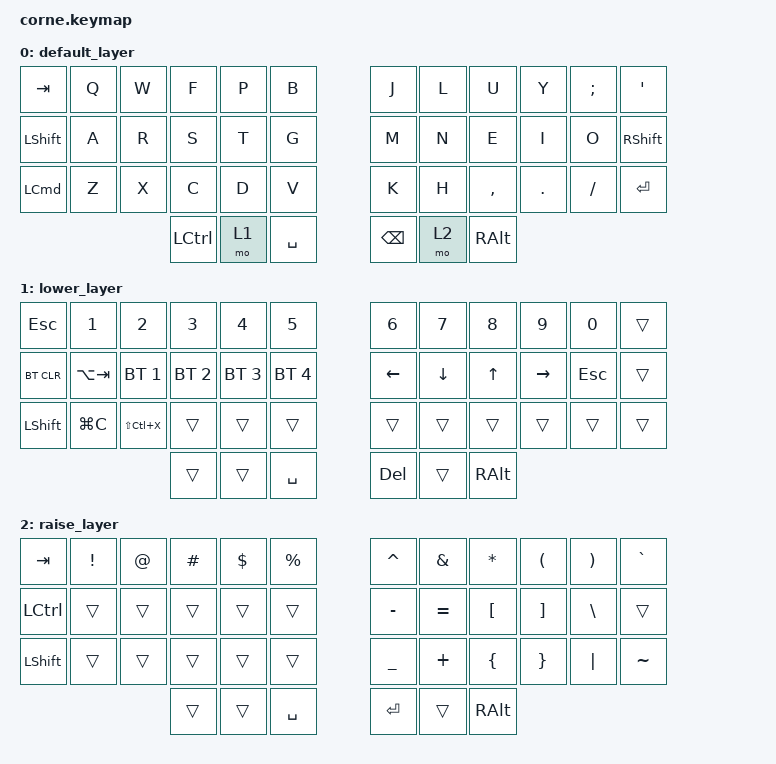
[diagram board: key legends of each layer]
/*
 * Copyright (c) 2020 The ZMK Contributors
 *
 * SPDX-License-Identifier: MIT
 */

#include <behaviors.dtsi>
#include <dt-bindings/zmk/bt.h>
#include <dt-bindings/zmk/keys.h>

/ {
    macros {
        ctrlTab: ctrlTab {
            compatible = "zmk,behavior-macro";
            #binding-cells = <0>;
            bindings = <&kp LEFT_ALT &kp TAB>;
            label = "CTRLTAB";
        };
    };

    keymap {
        compatible = "zmk,keymap";

        default_layer {
            // -----------------------------------------------------------------------------------------
            // |  TAB |  Q  |  W  |  F  |  P  |  B  |     |  J  |  L  |  U  |  Y  |  ;  | BSPC |
            // | CTRL |  A  |  R  |  S  |  T  |  G  |     |  M  |  N  |  E  |  I  |  O  |  '   |
            // | SHFT |  Z  |  X  |  C  |  D  |  V  |     |  K  |  H  |  ,  |  .  |  /  | ESC  |
            //                      | GUI | LWR | SPC |     | RET | RSE | ALT |

            bindings = <
&kp TAB           &kp Q  &kp W  &kp F             &kp P  &kp B        &kp J          &kp L  &kp U      &kp Y    &kp SEMICOLON  &kp APOS
&kp LEFT_SHIFT    &kp A  &kp R  &kp S             &kp T  &kp G        &kp M          &kp N  &kp E      &kp I    &kp O          &kp RIGHT_SHIFT
&kp LEFT_COMMAND  &kp Z  &kp X  &kp C             &kp D  &kp V        &kp K          &kp H  &kp COMMA  &kp DOT  &kp FSLH       &kp ENTER
                                &kp LEFT_CONTROL  &mo 1  &kp SPACE    &kp BACKSPACE  &mo 2  &kp RALT
            >;
        };

        lower_layer {
            // -----------------------------------------------------------------------------------------------
            // |  TAB  |  1  |  2  |  3  |  4  |  5  |     |  6   |  7  |  8   |  9   |  0   |  BSPC  |
            // | BTCLR | BT0 | BT1 | BT2 | BT3 | BT4 |     | LEFT | DOWN|  UP  |RIGHT |      |        |
            // | SHFT  |     |     |     |     |     |     |      |     |      |      |      |        |
            //                     | GUI |     | SPC |     | RET  |     | ALT  |

            bindings = <
&kp ESCAPE  &kp N1       &kp N2         &kp N3        &kp N4        &kp N5          &kp N6      &kp N7    &kp N8    &kp N9     &kp N0      &trans
&bt BT_CLR  &kp LA(TAB)  &bt BT_SEL 1   &bt BT_SEL 2  &bt BT_SEL 3  &bt BT_SEL 4    &kp LEFT    &kp DOWN  &kp UP    &kp RIGHT  &kp ESCAPE  &trans
&kp LSHFT   &kp LG(C)    &kp LS(LC(X))  &trans        &trans        &trans          &trans      &trans    &trans    &trans     &trans      &trans
                                        &trans        &trans        &kp SPACE       &kp DELETE  &trans    &kp RALT
            >;
        };

        raise_layer {
            // ---------------------------------------------------------------------------------------------------------
            // |  TAB |  !  |  @  |  #  |  $  |  %  |     |  ^   |  &   |  *   |  (   |  )   | DELETE |
            // | CTRL |     |     |     |     |     |     |  -   |  =   |  [   |  ]   |  \   |  `     |
            // | SHFT |     |     |     |     |     |     |  _   |  +   |  {   |  }   |  |   |  ~     |
            //                    | GUI |     | SPC |     | RET  |      | ALT  |

            bindings = <
&kp TAB    &kp EXCL  &kp AT  &kp HASH  &kp DLLR  &kp PRCNT    &kp CARET  &kp AMPS   &kp ASTRK  &kp LPAR  &kp RPAR  &kp GRAVE
&kp LCTRL  &trans    &trans  &trans    &trans    &trans       &kp MINUS  &kp EQUAL  &kp LBKT   &kp RBKT  &kp BSLH  &trans
&kp LSHFT  &trans    &trans  &trans    &trans    &trans       &kp UNDER  &kp PLUS   &kp LBRC   &kp RBRC  &kp PIPE  &kp TILDE
                             &trans    &trans    &kp SPACE    &kp RET    &trans     &kp RALT
            >;
        };
    };
};
